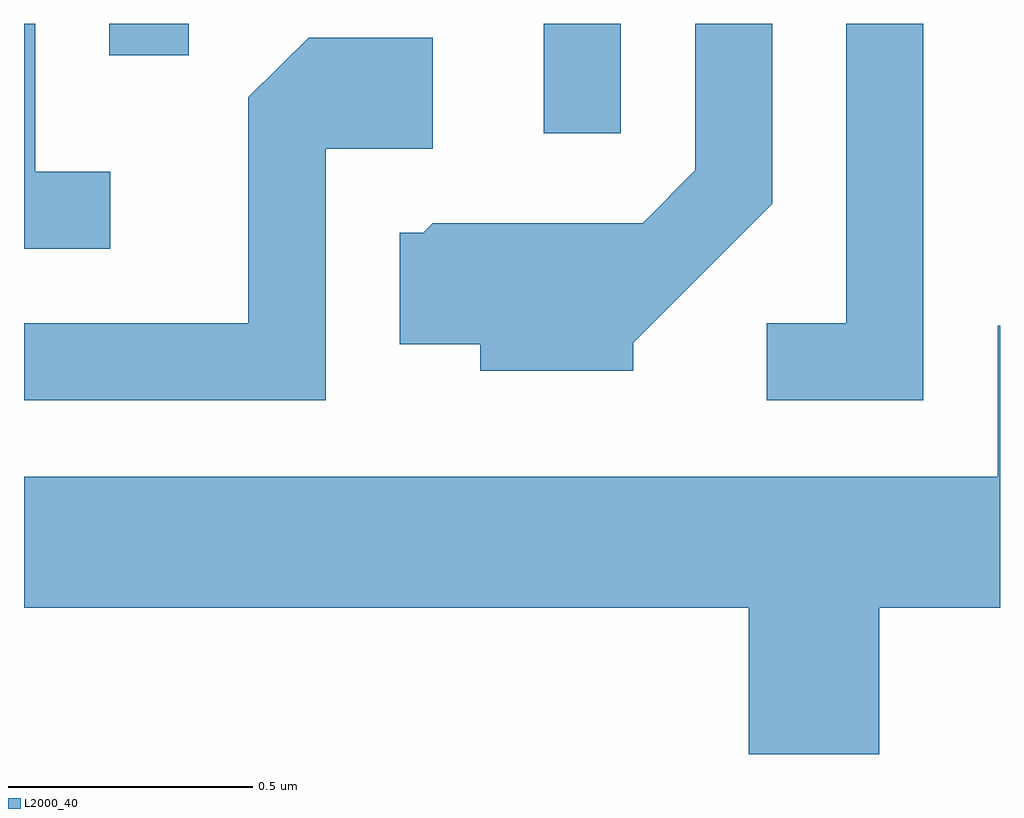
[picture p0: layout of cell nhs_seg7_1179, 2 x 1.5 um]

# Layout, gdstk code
import gdstk
lib = gdstk.Library(unit=1e-6, precision=1e-09)
def R(c, l, rs):  # rectangles x0, y0, x1, y1
    for r in rs: c.add(gdstk.rectangle(r[:2], r[2:], *l))
def P(c, l, *ps):  # polygons
    for p in ps: c.add(gdstk.Polygon(p, *l))
L2000_40 = (2000, 40)

nhs_seg7_1179 = lib.new_cell('nhs_seg7_1179')
R(nhs_seg7_1179, L2000_40, [(194.676,1753.028,194.834,1753.252), (193.786,1753.188,193.949,1753.252)])
P(nhs_seg7_1179, L2000_40, [(195.454,1753.252),(195.296,1753.252),(195.296,1752.639),(195.133,1752.639),(195.133,1752.481),(195.454,1752.481)],
  [(194.859,1752.599),(195.144,1752.884),(195.144,1753.252),(194.986,1753.252),(194.986,1752.952),(194.879,1752.844),(194.449,1752.844),(194.429,1752.824),(194.381,1752.824),(194.381,1752.596),(194.546,1752.596),(194.546,1752.541),(194.859,1752.541)],
  [(193.788,1752.949),(193.634,1752.949),(193.634,1753.252),(193.611,1753.252),(193.611,1752.791),(193.788,1752.791)],
  [(194.229,1752.996),(194.449,1752.996),(194.449,1753.224),(194.194,1753.224),(194.071,1753.102),(194.071,1752.639),(193.611,1752.639),(193.611,1752.481),(194.229,1752.481)],
  [(195.364,1752.056),(195.611,1752.056),(195.611,1752.634),(195.606,1752.634),(195.606,1752.324),(193.611,1752.324),(193.611,1752.056),(195.096,1752.056),(195.096,1751.756),(195.364,1751.756)])

lib.write_gds('nhs_seg7_1179.gds')
